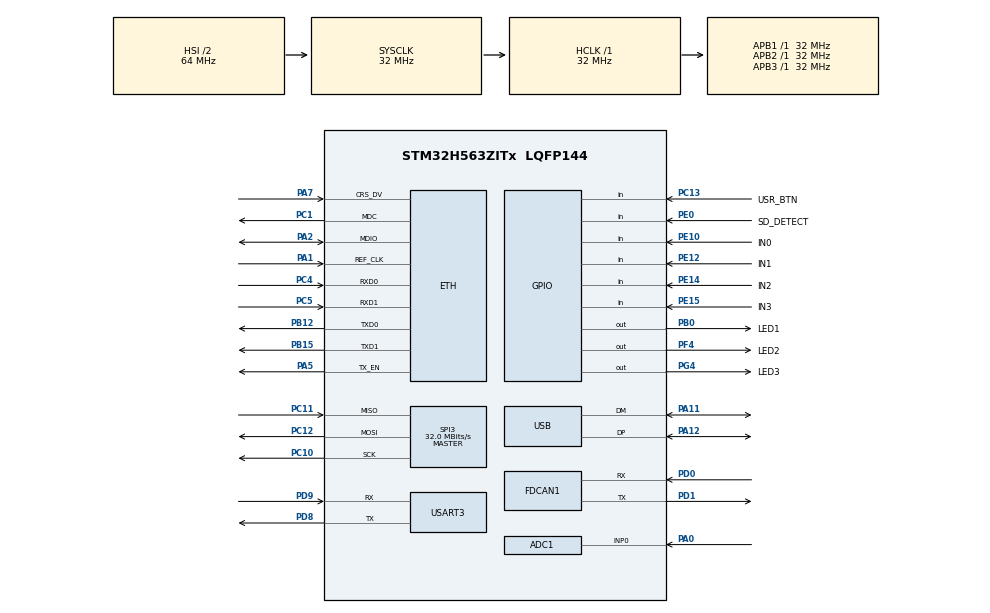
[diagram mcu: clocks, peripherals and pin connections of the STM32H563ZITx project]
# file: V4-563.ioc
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ADC1.Channel-0\#ChannelRegularConversion=ADC_CHANNEL_0
ADC1.MonitoredBy-0\#ChannelRegularConversion=__NULL
ADC1.NbrOfConversionFlag=1
ADC1.OffsetNumber-0\#ChannelRegularConversion=ADC_OFFSET_NONE
ADC1.Rank-0\#ChannelRegularConversion=1
ADC1.SamplingTime-0\#ChannelRegularConversion=ADC_SAMPLETIME_2CYCLES_5
ADC1.master=1
BOOTPATH.BootPathName=LEGACY
BOOTPATH.UserSelectedBootPath=LEGACY
CORTEX_M33_NS.userName=CORTEX_M33
ETH.MediaInterface=HAL_ETH_RMII_MODE
FDCAN1.CalculateBaudRateNominal=520833
FDCAN1.CalculateTimeBitNominal=1920
FDCAN1.CalculateTimeQuantumNominal=640.0
Mcu.Family=STM32H5
Mcu.Name=STM32H563ZITx
Mcu.Package=LQFP144
NETXDUO.ETH_ON=1
NETXDUO.LAN_8742=1
NVIC.PriorityGroup=NVIC_PRIORITYGROUP_4
NVIC.TIM1_UP_IRQn=true\:15\:0\:false\:false\:true\:false\:false\:true\:true
NVIC.TimeBase=TIM1_UP_IRQn
NVIC.TimeBaseIP=TIM1
NetXDuo.BSP.number=1
NetXDuo0.BSP.STBoard=false
NetXDuo0.BSP.api=BSP_COMPONENT_DRIVER
NetXDuo0.BSP.component=lan8742
NetXDuo0.BSP.instance=lan8742
NetXDuo0.BSP.name=LAN_Component
NetXDuo0.BSP.semaphore=SEMA_lan8742
NetXDuo0.BSP.solution=lan8742
PA0.Signal=ADCx_INP0
PA1.Mode=RMII
PA1.Signal=ETH_REF_CLK
PA11.Mode=Device
PA11.Signal=USB_DM
PA12.Mode=Device
PA12.Signal=USB_DP
PA13(JTMS/SWDIO).Signal=DEBUG_JTMS-SWDIO
PA2.Mode=RMII
PA2.Signal=ETH_MDIO
PA4.Signal=COMP_DAC11_group
PA5.Mode=RMII
PA5.Signal=ETH_TX_EN
PA7.Mode=RMII
PA7.Signal=ETH_CRS_DV
PB0.GPIO_Label=LED1
PB0.Signal=GPIO_Output
PB12.Mode=RMII
PB12.Signal=ETH_TXD0
PB15.Mode=RMII
PB15.Signal=ETH_TXD1
PC1.Mode=RMII
PC1.Signal=ETH_MDC
PC10.Mode=Full_Duplex_Master
PC10.Signal=SPI3_SCK
PC11.Mode=Full_Duplex_Master
PC11.Signal=SPI3_MISO
PC12.Mode=Full_Duplex_Master
PC12.Signal=SPI3_MOSI
PC13.GPIO_Label=USR_BTN
PC13.GPIO_PuPd=GPIO_PULLDOWN
PC13.Signal=GPIO_Input
PC14-OSC32_IN(OSC32_IN).Mode=LSE-External-Oscillator
PC14-OSC32_IN(OSC32_IN).Signal=RCC_OSC32_IN
PC15-OSC32_OUT(OSC32_OUT).Mode=LSE-External-Oscillator
PC15-OSC32_OUT(OSC32_OUT).Signal=RCC_OSC32_OUT
PC4.Mode=RMII
PC4.Signal=ETH_RXD0
PC5.Mode=RMII
PC5.Signal=ETH_RXD1
PC7.Signal=USART6_RX
PD0.Mode=FDCAN_Activate
PD0.Signal=FDCAN1_RX
PD1.Mode=FDCAN_Activate
PD1.Signal=FDCAN1_TX
PD4.Signal=USART2_RTS
PD5.Signal=USART2_TX
PD6.Signal=USART2_RX
PD8.Mode=Asynchronous
PD8.Signal=USART3_TX
PD9.Mode=Asynchronous
PD9.Signal=USART3_RX
PE0.GPIO_Label=SD_DETECT
PE0.GPIO_PuPd=GPIO_PULLUP
PE0.Signal=GPIO_Input
PE10.GPIO_Label=IN0
PE10.GPIO_PuPd=GPIO_PULLUP
PE10.Signal=GPIO_Input
PE12.GPIO_Label=IN1
PE12.GPIO_PuPd=GPIO_PULLUP
PE12.Signal=GPIO_Input
PE14.GPIO_Label=IN2
PE14.GPIO_PuPd=GPIO_PULLUP
PE14.Signal=GPIO_Input
PE15.GPIO_Label=IN3
PE15.GPIO_PuPd=GPIO_PULLUP
PE15.Signal=GPIO_Input
PF4.GPIO_Label=LED2
PF4.Signal=GPIO_Output
PG4.GPIO_Label=LED3
PG4.Signal=GPIO_Output
PH0-OSC_IN(PH0).Mode=HSE-External-Oscillator
PH0-OSC_IN(PH0).Signal=RCC_OSC_IN
PH1-OSC_OUT(PH1).Mode=HSE-External-Oscillator
PH1-OSC_OUT(PH1).Signal=RCC_OSC_OUT
ProjectManager.HeapSize=0x200
ProjectManager.StackSize=0x400
ProjectManager.TargetToolchain=STM32CubeIDE
RCC.ADCFreq_Value=32000000
RCC.AHBFreq_Value=32000000
RCC.APB1Freq_Value=32000000
RCC.APB1TimFreq_Value=32000000
RCC.APB2Freq_Value=32000000
RCC.APB2TimFreq_Value=32000000
RCC.APB3Freq_Value=32000000
RCC.CSI_VALUE=4000000
RCC.CortexFreq_Value=32000000
RCC.EPOD_VALUE=4000000
RCC.HCLKFreq_Value=32000000
RCC.HSE_VALUE=25000000
RCC.HSI48_VALUE=48000000
RCC.HSI_VALUE=64000000
RCC.LSIRC_VALUE=32000
RCC.PLLFRACN=0
RCC.PLLN=32
RCC.SYSCLKFreq_VALUE=32000000
RCC.USBFreq_Value=48000000
RCC.VCOOutputFreq_Value=128000000
SH.ADCx_INP0.0=ADC1_INP0,IN0-Single-Ended
SH.COMP_DAC11_group.0=DAC1_OUT1
SPI3.BaudRatePrescaler=SPI_BAUDRATEPRESCALER_2
SPI3.CalculateBaudRate=32.0 MBits/s
SPI3.DataSize=SPI_DATASIZE_8BIT
SPI3.Direction=SPI_DIRECTION_2LINES
SPI3.Mode=SPI_MODE_MASTER
SPI3.NSSPMode=SPI_NSS_PULSE_DISABLE
SPI3.TIMode=SPI_TIMODE_DISABLE
SPI3.VirtualType=VM_MASTER
THREADX.TX_APP_GENERATE_INIT_CODE=true
THREADX.TX_APP_MEM_POOL_SIZE=32768
USART3.VirtualMode=VM_ASYNC
USB.VirtualMode=Device_Only
VP_BOOTPATH_VS_BOOTPATH.Mode=BP_Activate
VP_CORTEX_M33_NS_VS_Hclk.Mode=Hclk_Mode
VP_ICACHE_VS_ICACHE.Mode=DefaultMode
VP_MEMORYMAP_VS_MEMORYMAP.Mode=CurAppReg
VP_NETXDUO_VS_EthernetOoPhyOoInterface.Mode=LAN8742_Phy_Interface
VP_NETXDUO_VS_NXOoCore.Mode=NX_Core
VP_NETXDUO_VS_NetworkOoInterface.Mode=Ethernet_Interface
VP_PWR_VS_DBSignals.Mode=DisableDeadBatterySignals
VP_PWR_VS_LPOM.Mode=PowerOptimisation
VP_PWR_VS_SECSignals.Mode=Security/Privilege
VP_RTC_VS_RTC_Activate.Mode=RTC_Enabled
VP_RTC_VS_RTC_Calendar.Mode=RTC_Calendar
VP_SYS_VS_tim1.Mode=TIM1
VP_THREADX_VS_RTOSJjThreadXJjCoreJjDefault.Mode=Core_Default
board=custom

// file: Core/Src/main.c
/* USER CODE BEGIN Header */
/**
  ******************************************************************************
  * @file           : main.c
  * @brief          : Main program body
  ******************************************************************************
  * @attention
  *
  * Copyright (c) 2024 STMicroelectronics.
  * All rights reserved.
  *
  * This software is licensed under terms that can be found in the LICENSE file
  * in the root directory of this software component.
  * If no LICENSE file comes with this software, it is provided AS-IS.
  *
  ******************************************************************************
  */
/* USER CODE END Header */
//#include "app_threadx.h"
#include "main.h"
#include "string.h"

#include "cmsis_os.h"
#include "fatfs.h"
#include "ff.h"
//k #include "lwip.h"
#include "usb_device.h"

/* USER CODE BEGIN Includes */
#include "LED.h"
#include "Settings.h"
#include "Variables.h"
#include "Track.h"
#include "acknowledge.h"
//#include "httpd.h"
#include "Shell.h"
#include "Input.h"

// Command Station
#include "CS.h"
//#include "stm32h5xx_hal_spi.h"
/* USER CODE END Includes */

/* USER CODE BEGIN PD */
#define VERSION		10009	// 10005 x.yy.zz = 1.00.05

/* USER CODE END PD */

ETH_TxPacketConfigTypeDef TxConfig;
ETH_DMADescTypeDef  DMARxDscrTab[ETH_RX_DESC_CNT]; /* Ethernet Rx DMA Descriptors */
ETH_DMADescTypeDef  DMATxDscrTab[ETH_TX_DESC_CNT]; /* Ethernet Tx DMA Descriptors */

ADC_HandleTypeDef hadc1;

ETH_HandleTypeDef heth;

FDCAN_HandleTypeDef hfdcan1;

RTC_HandleTypeDef hrtc;

SPI_HandleTypeDef hspi3;

UART_HandleTypeDef huart3;

PCD_HandleTypeDef hpcd_USB_DRD_FS;

osThreadId_t defaultTaskHandle;

/* USER CODE BEGIN PV */
uint32_t PCLK1Freq;

FATFS fs;

uint32_t MakeSerialNumber(void);

void StartDefaultTask(void *argument);

/* USER CODE BEGIN PFP */
//extern void ShellTask(void *argument);
//extern void LedTask(void *argument);
extern void http_server_init(void);
//extern void UsbTask(void *argument);

//extern void Telnet_init(void);
extern void telnet_server_init(void);

/* USER CODE END PV */

void SystemClock_Config(void);
static void MX_GPIO_Init(void);
static void MX_ADC1_Init(void);
static void MX_FDCAN1_Init(void);
static void MX_ETH_Init(void);
static void MX_ICACHE_Init(void);
static void MX_USART3_UART_Init(void);
static void MX_RTC_Init(void);
static void MX_SPI3_Init(void);
static void MX_USB_PCD_Init(void);

int main(void)
{

  /* MCU Configuration--------------------------------------------------------*/

  /* Reset of all peripherals, Initializes the Flash interface and the Systick. */
  HAL_Init();

  /* Configure the system clock */
  SystemClock_Config();

  /* USER CODE BEGIN SysInit */
  HAL_ICACHE_Disable();
  PCLK1Freq = HAL_RCC_GetPCLK1Freq();
  HAL_ICACHE_Enable();
  /* USER CODE END SysInit */

  /* Initialize all configured peripherals */
  MX_GPIO_Init();
  MX_ADC1_Init();
  MX_FDCAN1_Init();
  MX_ETH_Init();
  MX_ICACHE_Init();
  MX_USART3_UART_Init();
  MX_RTC_Init();
  MX_SPI3_Init();
  MX_USB_PCD_Init();
  /* USER CODE BEGIN 2 */

  /* init code for FATFS */
  MX_FATFS_Init();
  /* Mount SD Card */
  if(f_mount(&fs, "", 0) != FR_OK)
  {
    RedLed(LED_EBLINK_1);
  }

  (void)GetSettings();

  lVersion = VERSION;
  lSerialNumber = MakeSerialNumber();
  strcpy(szBuildDateVar, __DATE__);

  // crashes in the interrupt if TI_NONE is selected
  MainTrackConfig();

  GreenLed(LED_NORMAL);

  /* USER CODE END 2 */
	osKernelInitialize();

	const osThreadAttr_t defaultTask_attributes = {
		.name = "defaultTask",
		.priority = (osPriority_t) osPriorityNormal,
		.stack_size = 2000
	};
	defaultTaskHandle = osThreadNew(StartDefaultTask, NULL, &defaultTask_attributes);

	/* USER CODE BEGIN RTOS_THREADS */
	/* add threads, ... */

	const osThreadAttr_t shellTask_attributes = {
		.name = "shell",
		.priority = (osPriority_t) osPriorityAboveNormal4,
		//.stack_size = 1024
		//.stack_size = 2000
		.stack_size = 3000
	};
	osThreadNew(ShellTask, NULL, &shellTask_attributes);

	const osThreadAttr_t scriptTask_attributes = {
		.name = "script",
		.priority = (osPriority_t) osPriorityAboveNormal1,
		//.stack_size = 1024
		//.stack_size = 2500
		.stack_size = 3000
	};
	osThreadNew(ScriptTask, NULL, &scriptTask_attributes);

	const osThreadAttr_t ledTask_attributes = {
		.name = "led",
		.priority = (osPriority_t) osPriorityNormal1,
		.stack_size = 256
	};
	osThreadNew(LedTask, NULL, &ledTask_attributes);

	const osThreadAttr_t commandstationTask_attributes = {
		.name = "commandstation",
		.priority = (osPriority_t) osPriorityNormal1,
		.stack_size = 3000
	};
	osThreadNew(CommandStationTask, NULL, &commandstationTask_attributes);

	const osThreadAttr_t inputTask_attributes = {
		.name = "input",
		.priority = (osPriority_t) osPriorityNormal1,
		.stack_size = 256
	};
	osThreadNew(InputTask, NULL, &inputTask_attributes);

	GreenLed(LED_NORMAL);

	//	http_server_init();
//k	telnet_server_init();

	/* USER CODE END RTOS_THREADS */

	/* Start scheduler */
	osKernelStart();

  /* We should never get here as control is now taken by the scheduler */

  /* Infinite loop */
  while (1)
  {

  }
}

void SystemClock_Config(void)
{
  RCC_OscInitTypeDef RCC_OscInitStruct = {0};
  RCC_ClkInitTypeDef RCC_ClkInitStruct = {0};

  /** Configure the main internal regulator output voltage
  */
  __HAL_PWR_VOLTAGESCALING_CONFIG(PWR_REGULATOR_VOLTAGE_SCALE3);

  while(!__HAL_PWR_GET_FLAG(PWR_FLAG_VOSRDY)) {}

  /** Configure LSE Drive Capability
  *  Warning : Only applied when the LSE is disabled.
  */
  HAL_PWR_EnableBkUpAccess();
  __HAL_RCC_LSEDRIVE_CONFIG(RCC_LSEDRIVE_LOW);

  /** Initializes the RCC Oscillators according to the specified parameters
  * in the RCC_OscInitTypeDef structure.
  */
  RCC_OscInitStruct.OscillatorType = RCC_OSCILLATORTYPE_HSI48|RCC_OSCILLATORTYPE_HSI
                              |RCC_OSCILLATORTYPE_LSI|RCC_OSCILLATORTYPE_HSE
                              |RCC_OSCILLATORTYPE_CSI;
  RCC_OscInitStruct.HSEState = RCC_HSE_ON;
  RCC_OscInitStruct.HSIState = RCC_HSI_ON;
  RCC_OscInitStruct.HSIDiv = RCC_HSI_DIV2;
  RCC_OscInitStruct.HSICalibrationValue = RCC_HSICALIBRATION_DEFAULT;
  RCC_OscInitStruct.LSIState = RCC_LSI_ON;
  RCC_OscInitStruct.HSI48State = RCC_HSI48_ON;
  RCC_OscInitStruct.CSIState = RCC_CSI_ON;
  RCC_OscInitStruct.CSICalibrationValue = RCC_CSICALIBRATION_DEFAULT;
  RCC_OscInitStruct.PLL.PLLState = RCC_PLL_ON;
  RCC_OscInitStruct.PLL.PLLSource = RCC_PLL1_SOURCE_CSI;
  RCC_OscInitStruct.PLL.PLLM = 1;
  RCC_OscInitStruct.PLL.PLLN = 32;
  RCC_OscInitStruct.PLL.PLLP = 2;
  RCC_OscInitStruct.PLL.PLLQ = 2;
  RCC_OscInitStruct.PLL.PLLR = 2;
  RCC_OscInitStruct.PLL.PLLRGE = RCC_PLL1_VCIRANGE_2;
  RCC_OscInitStruct.PLL.PLLVCOSEL = RCC_PLL1_VCORANGE_WIDE;
  RCC_OscInitStruct.PLL.PLLFRACN = 0;
  if (HAL_RCC_OscConfig(&RCC_OscInitStruct) != HAL_OK)
  {
    Error_Handler();
  }

  /** Initializes the CPU, AHB and APB buses clocks
  */
  RCC_ClkInitStruct.ClockType = RCC_CLOCKTYPE_HCLK|RCC_CLOCKTYPE_SYSCLK
                              |RCC_CLOCKTYPE_PCLK1|RCC_CLOCKTYPE_PCLK2
                              |RCC_CLOCKTYPE_PCLK3;
  RCC_ClkInitStruct.SYSCLKSource = RCC_SYSCLKSOURCE_HSI;
  RCC_ClkInitStruct.AHBCLKDivider = RCC_SYSCLK_DIV1;
  RCC_ClkInitStruct.APB1CLKDivider = RCC_HCLK_DIV1;
  RCC_ClkInitStruct.APB2CLKDivider = RCC_HCLK_DIV1;
  RCC_ClkInitStruct.APB3CLKDivider = RCC_HCLK_DIV1;

  if (HAL_RCC_ClockConfig(&RCC_ClkInitStruct, FLASH_LATENCY_1) != HAL_OK)
  {
    Error_Handler();
  }
}

static void MX_ADC1_Init(void)
{

  ADC_ChannelConfTypeDef sConfig = {0};

  /** Common config
  */
  hadc1.Instance = ADC1;
  hadc1.Init.ClockPrescaler = ADC_CLOCK_ASYNC_DIV1;
  hadc1.Init.Resolution = ADC_RESOLUTION_12B;
  hadc1.Init.DataAlign = ADC_DATAALIGN_RIGHT;
  hadc1.Init.ScanConvMode = ADC_SCAN_DISABLE;
  hadc1.Init.EOCSelection = ADC_EOC_SINGLE_CONV;
  hadc1.Init.LowPowerAutoWait = DISABLE;
  hadc1.Init.ContinuousConvMode = DISABLE;
  hadc1.Init.NbrOfConversion = 1;
  hadc1.Init.DiscontinuousConvMode = DISABLE;
  hadc1.Init.ExternalTrigConv = ADC_SOFTWARE_START;
  hadc1.Init.ExternalTrigConvEdge = ADC_EXTERNALTRIGCONVEDGE_NONE;
  hadc1.Init.DMAContinuousRequests = DISABLE;
  hadc1.Init.SamplingMode = ADC_SAMPLING_MODE_NORMAL;
  hadc1.Init.Overrun = ADC_OVR_DATA_PRESERVED;
  hadc1.Init.OversamplingMode = DISABLE;
  if (HAL_ADC_Init(&hadc1) != HAL_OK)
  {
    Error_Handler();
  }

  /** Configure Regular Channel
  */
  sConfig.Channel = ADC_CHANNEL_0;
  sConfig.Rank = ADC_REGULAR_RANK_1;
  sConfig.SamplingTime = ADC_SAMPLETIME_2CYCLES_5;
  sConfig.SingleDiff = ADC_SINGLE_ENDED;
  sConfig.OffsetNumber = ADC_OFFSET_NONE;
  sConfig.Offset = 0;
  if (HAL_ADC_ConfigChannel(&hadc1, &sConfig) != HAL_OK)
  {
    Error_Handler();
  }

}

static void MX_ETH_Init(void)
{

   static uint8_t MACAddr[6];

  heth.Instance = ETH;
  MACAddr[0] = 0x00;
  MACAddr[1] = 0x80;
  MACAddr[2] = 0xE1;
  MACAddr[3] = 0x00;
  MACAddr[4] = 0x00;
  MACAddr[5] = 0x00;
  heth.Init.MACAddr = &MACAddr[0];
  heth.Init.MediaInterface = HAL_ETH_RMII_MODE;
  heth.Init.TxDesc = DMATxDscrTab;
  heth.Init.RxDesc = DMARxDscrTab;
  heth.Init.RxBuffLen = 1524;

  if (HAL_ETH_Init(&heth) != HAL_OK)
  {
    Error_Handler();
  }

  memset(&TxConfig, 0 , sizeof(ETH_TxPacketConfigTypeDef));
  TxConfig.Attributes = ETH_TX_PACKETS_FEATURES_CSUM | ETH_TX_PACKETS_FEATURES_CRCPAD;
  TxConfig.ChecksumCtrl = ETH_CHECKSUM_IPHDR_PAYLOAD_INSERT_PHDR_CALC;
  TxConfig.CRCPadCtrl = ETH_CRC_PAD_INSERT;

}

static void MX_FDCAN1_Init(void)
{

  hfdcan1.Instance = FDCAN1;
  hfdcan1.Init.ClockDivider = FDCAN_CLOCK_DIV1;
  hfdcan1.Init.FrameFormat = FDCAN_FRAME_CLASSIC;
  hfdcan1.Init.Mode = FDCAN_MODE_NORMAL;
  hfdcan1.Init.AutoRetransmission = DISABLE;
  hfdcan1.Init.TransmitPause = DISABLE;
  hfdcan1.Init.ProtocolException = DISABLE;
  hfdcan1.Init.NominalPrescaler = 16;
  hfdcan1.Init.NominalSyncJumpWidth = 1;
  hfdcan1.Init.NominalTimeSeg1 = 1;
  hfdcan1.Init.NominalTimeSeg2 = 1;
  hfdcan1.Init.DataPrescaler = 1;
  hfdcan1.Init.DataSyncJumpWidth = 1;
  hfdcan1.Init.DataTimeSeg1 = 1;
  hfdcan1.Init.DataTimeSeg2 = 1;
  hfdcan1.Init.StdFiltersNbr = 0;
  hfdcan1.Init.ExtFiltersNbr = 0;
  hfdcan1.Init.TxFifoQueueMode = FDCAN_TX_FIFO_OPERATION;
  if (HAL_FDCAN_Init(&hfdcan1) != HAL_OK)
  {
    Error_Handler();
  }

}

static void MX_ICACHE_Init(void)
{

  /** Enable instruction cache (default 2-ways set associative cache)
  */
  if (HAL_ICACHE_Enable() != HAL_OK)
  {
    Error_Handler();
  }

}

static void MX_RTC_Init(void)
{

  RTC_PrivilegeStateTypeDef privilegeState = {0};
  RTC_TimeTypeDef sTime = {0};
  RTC_DateTypeDef sDate = {0};

  /** Initialize RTC Only
  */
  hrtc.Instance = RTC;
  hrtc.Init.HourFormat = RTC_HOURFORMAT_24;
  hrtc.Init.AsynchPrediv = 127;
  hrtc.Init.SynchPrediv = 255;
  hrtc.Init.OutPut = RTC_OUTPUT_DISABLE;
  hrtc.Init.OutPutRemap = RTC_OUTPUT_REMAP_NONE;
  hrtc.Init.OutPutPolarity = RTC_OUTPUT_POLARITY_HIGH;
  hrtc.Init.OutPutType = RTC_OUTPUT_TYPE_OPENDRAIN;
  hrtc.Init.OutPutPullUp = RTC_OUTPUT_PULLUP_NONE;
  hrtc.Init.BinMode = RTC_BINARY_NONE;
  if (HAL_RTC_Init(&hrtc) != HAL_OK)
  {
    Error_Handler();
  }
  privilegeState.rtcPrivilegeFull = RTC_PRIVILEGE_FULL_NO;
  privilegeState.backupRegisterPrivZone = RTC_PRIVILEGE_BKUP_ZONE_NONE;
  privilegeState.backupRegisterStartZone2 = RTC_BKP_DR0;
  privilegeState.backupRegisterStartZone3 = RTC_BKP_DR0;
  if (HAL_RTCEx_PrivilegeModeSet(&hrtc, &privilegeState) != HAL_OK)
  {
    Error_Handler();
  }

  /* USER CODE BEGIN Check_RTC_BKUP */
  #define RTC_COOKIE 0x5a5a5a5a
  if(HAL_RTCEx_BKUPRead(&hrtc, RTC_BKP_DR0) == RTC_COOKIE)
  {
	  return;
  }
  /* USER CODE END Check_RTC_BKUP */

  /** Initialize RTC and set the Time and Date
  */
  sTime.Hours = 0x0;
  sTime.Minutes = 0x0;
  sTime.Seconds = 0x0;
  sTime.DayLightSaving = RTC_DAYLIGHTSAVING_NONE;
  sTime.StoreOperation = RTC_STOREOPERATION_RESET;
  if (HAL_RTC_SetTime(&hrtc, &sTime, RTC_FORMAT_BCD) != HAL_OK)
  {
//k    Error_Handler();
  }
  sDate.WeekDay = RTC_WEEKDAY_MONDAY;
  sDate.Month = RTC_MONTH_JANUARY;
  sDate.Date = 0x1;
  sDate.Year = 0x0;

  if (HAL_RTC_SetDate(&hrtc, &sDate, RTC_FORMAT_BCD) != HAL_OK)
  {
//k    Error_Handler();
  }
  /* USER CODE BEGIN RTC_Init 2 */
  HAL_RTCEx_BKUPWrite(&hrtc, RTC_BKP_DR0, RTC_COOKIE);
  /* USER CODE END RTC_Init 2 */

}

static void MX_SPI3_Init(void)
{

  /* SPI3 parameter configuration*/
  hspi3.Instance = SPI3;
  hspi3.Init.Mode = SPI_MODE_MASTER;
  hspi3.Init.Direction = SPI_DIRECTION_2LINES;
  hspi3.Init.DataSize = SPI_DATASIZE_8BIT;
  hspi3.Init.CLKPolarity = SPI_POLARITY_LOW;
  hspi3.Init.CLKPhase = SPI_PHASE_1EDGE;
  hspi3.Init.NSS = SPI_NSS_SOFT;
  hspi3.Init.BaudRatePrescaler = SPI_BAUDRATEPRESCALER_2;
  hspi3.Init.FirstBit = SPI_FIRSTBIT_MSB;
  hspi3.Init.TIMode = SPI_TIMODE_DISABLE;
  hspi3.Init.CRCCalculation = SPI_CRCCALCULATION_DISABLE;
  hspi3.Init.CRCPolynomial = 0x7;
  hspi3.Init.NSSPMode = SPI_NSS_PULSE_DISABLE;
  hspi3.Init.NSSPolarity = SPI_NSS_POLARITY_LOW;
  hspi3.Init.FifoThreshold = SPI_FIFO_THRESHOLD_01DATA;
  hspi3.Init.MasterSSIdleness = SPI_MASTER_SS_IDLENESS_00CYCLE;
  hspi3.Init.MasterInterDataIdleness = SPI_MASTER_INTERDATA_IDLENESS_00CYCLE;
  hspi3.Init.MasterReceiverAutoSusp = SPI_MASTER_RX_AUTOSUSP_DISABLE;
  hspi3.Init.MasterKeepIOState = SPI_MASTER_KEEP_IO_STATE_DISABLE;
  hspi3.Init.IOSwap = SPI_IO_SWAP_DISABLE;
  hspi3.Init.ReadyMasterManagement = SPI_RDY_MASTER_MANAGEMENT_INTERNALLY;
  hspi3.Init.ReadyPolarity = SPI_RDY_POLARITY_HIGH;
  if (HAL_SPI_Init(&hspi3) != HAL_OK)
  {
    Error_Handler();
  }

}

static void MX_USART3_UART_Init(void)
{

  huart3.Instance = USART3;
  huart3.Init.BaudRate = 115200;
  huart3.Init.WordLength = UART_WORDLENGTH_8B;
  huart3.Init.StopBits = UART_STOPBITS_1;
  huart3.Init.Parity = UART_PARITY_NONE;
  huart3.Init.Mode = UART_MODE_TX_RX;
  huart3.Init.HwFlowCtl = UART_HWCONTROL_NONE;
  huart3.Init.OverSampling = UART_OVERSAMPLING_16;
  huart3.Init.OneBitSampling = UART_ONE_BIT_SAMPLE_DISABLE;
  huart3.Init.ClockPrescaler = UART_PRESCALER_DIV1;
  huart3.AdvancedInit.AdvFeatureInit = UART_ADVFEATURE_NO_INIT;
  if (HAL_UART_Init(&huart3) != HAL_OK)
  {
    Error_Handler();
  }
  if (HAL_UARTEx_SetTxFifoThreshold(&huart3, UART_TXFIFO_THRESHOLD_1_8) != HAL_OK)
  {
    Error_Handler();
  }
  if (HAL_UARTEx_SetRxFifoThreshold(&huart3, UART_RXFIFO_THRESHOLD_1_8) != HAL_OK)
  {
    Error_Handler();
  }
  if (HAL_UARTEx_DisableFifoMode(&huart3) != HAL_OK)
  {
    Error_Handler();
  }

}

static void MX_USB_PCD_Init(void)
{

  hpcd_USB_DRD_FS.Instance = USB_DRD_FS;
  hpcd_USB_DRD_FS.Init.dev_endpoints = 8;
  hpcd_USB_DRD_FS.Init.speed = USBD_FS_SPEED;
  hpcd_USB_DRD_FS.Init.phy_itface = PCD_PHY_EMBEDDED;
  hpcd_USB_DRD_FS.Init.Sof_enable = DISABLE;
  hpcd_USB_DRD_FS.Init.low_power_enable = DISABLE;
  hpcd_USB_DRD_FS.Init.lpm_enable = DISABLE;
  hpcd_USB_DRD_FS.Init.battery_charging_enable = DISABLE;
  hpcd_USB_DRD_FS.Init.vbus_sensing_enable = DISABLE;
  hpcd_USB_DRD_FS.Init.bulk_doublebuffer_enable = DISABLE;
  hpcd_USB_DRD_FS.Init.iso_singlebuffer_enable = DISABLE;
  if (HAL_PCD_Init(&hpcd_USB_DRD_FS) != HAL_OK)
  {
    Error_Handler();
  }

}

static void MX_GPIO_Init(void)
{
  GPIO_InitTypeDef GPIO_InitStruct = {0};

  /* GPIO Ports Clock Enable */
  __HAL_RCC_GPIOC_CLK_ENABLE();
  __HAL_RCC_GPIOF_CLK_ENABLE();
  __HAL_RCC_GPIOH_CLK_ENABLE();
  __HAL_RCC_GPIOA_CLK_ENABLE();
  __HAL_RCC_GPIOB_CLK_ENABLE();
  __HAL_RCC_GPIOE_CLK_ENABLE();
  __HAL_RCC_GPIOD_CLK_ENABLE();
  __HAL_RCC_GPIOG_CLK_ENABLE();

  /*Configure GPIO pin Output Level */
  HAL_GPIO_WritePin(LED2_GPIO_Port, LED2_Pin, GPIO_PIN_RESET);

  /*Configure GPIO pin Output Level */
  HAL_GPIO_WritePin(LED1_GPIO_Port, LED1_Pin, GPIO_PIN_RESET);

  /*Configure GPIO pin Output Level */
  HAL_GPIO_WritePin(LED3_GPIO_Port, LED3_Pin, GPIO_PIN_RESET);

  /*Configure GPIO pin : USR_BTN_Pin */
  GPIO_InitStruct.Pin = USR_BTN_Pin;
  GPIO_InitStruct.Mode = GPIO_MODE_INPUT;
  GPIO_InitStruct.Pull = GPIO_PULLDOWN;
  HAL_GPIO_Init(USR_BTN_GPIO_Port, &GPIO_InitStruct);

  /*Configure GPIO pin : LED2_Pin */
  GPIO_InitStruct.Pin = LED2_Pin;
  GPIO_InitStruct.Mode = GPIO_MODE_OUTPUT_PP;
  GPIO_InitStruct.Pull = GPIO_NOPULL;
  GPIO_InitStruct.Speed = GPIO_SPEED_FREQ_LOW;
  HAL_GPIO_Init(LED2_GPIO_Port, &GPIO_InitStruct);

  /*Configure GPIO pin : PA4 */
  GPIO_InitStruct.Pin = GPIO_PIN_4;
  GPIO_InitStruct.Mode = GPIO_MODE_ANALOG;
  GPIO_InitStruct.Pull = GPIO_NOPULL;
  HAL_GPIO_Init(GPIOA, &GPIO_InitStruct);

  /*Configure GPIO pin : LED1_Pin */
  GPIO_InitStruct.Pin = LED1_Pin;
  GPIO_InitStruct.Mode = GPIO_MODE_OUTPUT_PP;
  GPIO_InitStruct.Pull = GPIO_NOPULL;
  GPIO_InitStruct.Speed = GPIO_SPEED_FREQ_LOW;
  HAL_GPIO_Init(LED1_GPIO_Port, &GPIO_InitStruct);

  /*Configure GPIO pins : IN0_Pin IN1_Pin IN2_Pin IN3_Pin
                           SD_DETECT_Pin */
  GPIO_InitStruct.Pin = IN0_Pin|IN1_Pin|IN2_Pin|IN3_Pin
                          |SD_DETECT_Pin;
  GPIO_InitStruct.Mode = GPIO_MODE_INPUT;
  GPIO_InitStruct.Pull = GPIO_PULLUP;
  HAL_GPIO_Init(GPIOE, &GPIO_InitStruct);

  /*Configure GPIO pin : LED3_Pin */
  GPIO_InitStruct.Pin = LED3_Pin;
  GPIO_InitStruct.Mode = GPIO_MODE_OUTPUT_PP;
  GPIO_InitStruct.Pull = GPIO_NOPULL;
  GPIO_InitStruct.Speed = GPIO_SPEED_FREQ_LOW;
  HAL_GPIO_Init(LED3_GPIO_Port, &GPIO_InitStruct);

  /*Configure GPIO pin : PC7 */
  GPIO_InitStruct.Pin = GPIO_PIN_7;
  GPIO_InitStruct.Mode = GPIO_MODE_AF_PP;
  GPIO_InitStruct.Pull = GPIO_NOPULL;
  GPIO_InitStruct.Speed = GPIO_SPEED_FREQ_LOW;
  GPIO_InitStruct.Alternate = GPIO_AF7_USART6;
  HAL_GPIO_Init(GPIOC, &GPIO_InitStruct);

  /*Configure GPIO pins : PD4 PD5 PD6 */
  GPIO_InitStruct.Pin = GPIO_PIN_4|GPIO_PIN_5|GPIO_PIN_6;
  GPIO_InitStruct.Mode = GPIO_MODE_AF_PP;
  GPIO_InitStruct.Pull = GPIO_NOPULL;
  GPIO_InitStruct.Speed = GPIO_SPEED_FREQ_LOW;
  GPIO_InitStruct.Alternate = GPIO_AF7_USART2;
  HAL_GPIO_Init(GPIOD, &GPIO_InitStruct);

}

/* USER CODE BEGIN 4 */
/**********************************************************************
*
* FUNCTION:		MakeSerialNumber
*
* ARGUMENTS:
*
* RETURNS:
*
* DESCRIPTION:
*
* RESTRICTIONS:
*
**********************************************************************/
uint32_t MakeSerialNumber(void)
{
	uint32_t hash = 0;
	uint32_t i;
	uint32_t DeviceID[3];

	HAL_ICACHE_Disable();
	DeviceID[0] = HAL_GetUIDw0();
	DeviceID[1] = HAL_GetUIDw1();
	DeviceID[2] = HAL_GetUIDw2();
	HAL_ICACHE_Enable();

    for(i = 0; i < 3; i++)
    {
        hash += DeviceID[i];
        hash += (hash << 10);
        hash ^= (hash >> 6);
	}
	hash += (hash << 3);
	hash ^= (hash >> 11);
	hash += (hash << 15);
	return hash;
}

/* USER CODE END 4 */

void StartDefaultTask(void *argument)
{

  /* init code for FATFS */
//  MX_FATFS_Init();

  /* init code for LWIP */
//k  MX_LWIP_Init();

  /* init code for USB_DEVICE */
//k  MX_USB_DEVICE_Init();

  for(;;)
  {
    osDelay(1);
  }
}

void HAL_TIM_PeriodElapsedCallback(TIM_HandleTypeDef *htim)
{
  if (htim->Instance == TIM1) {
    HAL_IncTick();
  }
}

void Error_Handler(void)
{
  __disable_irq();
  while (1)
  {
  }
}
